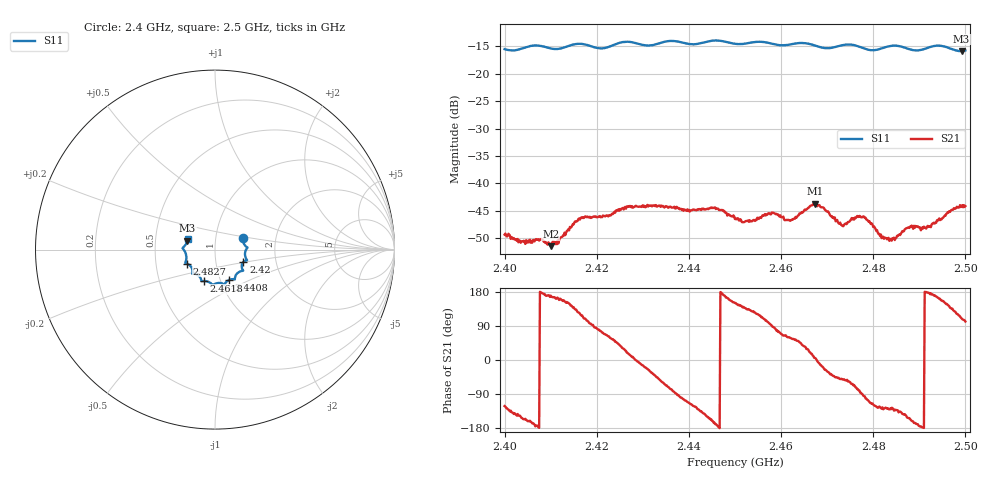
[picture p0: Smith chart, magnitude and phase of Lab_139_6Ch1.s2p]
# Hz S RI R 50
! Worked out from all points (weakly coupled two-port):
!   601 points, 2.4 GHz to 2.5 GHz, reference 50 ohm
!   highest |S21| = -43.71 dB at 2.4673 GHz (marker M1); lowest = -51.4 dB at 2.41 GHz (marker M2)
!   lowest |S11| = -15.8 dB at 2.4992 GHz (marker M3), VSWR 1.38, Z = 36.5 + j3.71 ohm
!   |S11| at or under -10 dB: start of sweep to end of sweep
!   S12 and S22 are empty: the file has one direction only
!   S11 on the Smith chart (normalised r, x): 2.4 GHz: 1.36, +0.17; 2.42 GHz: 1.36, -0.19; 2.4408 GHz: 1.10, -0.38; 2.4618 GHz: 0.84, -0.30; 2.4827 GHz: 0.72, -0.12; 2.5 GHz: 0.73, +0.09
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2.4e9  0.1562 0.0622  -0.00179 -0.00291  0 0  0 0
2.41e9  0.1704 -0.00631  -0.00264 0.00047  0 0  0 0
2.416667e9  0.1782 -0.0592  -0.00225 0.00436  0 0  0 0
2.42e9  0.158 -0.0692  0.000583 0.00488  0 0  0 0
2.427e9  0.1566 -0.118  0.00591 0.00159  0 0  0 0
2.433333e9  0.112 -0.152  0.00415 -0.00469  0 0  0 0
2.440833e9  0.079 -0.1686  -0.00292 -0.00496  0 0  0 0
2.445667e9  0.0523 -0.1947  -0.00593 -0.00116  0 0  0 0
2.45e9  0.028 -0.186  -0.00411 0.00235  0 0  0 0
2.452e9  0.00724 -0.1881  -0.00332 0.00294  0 0  0 0
2.4585e9  -0.0276 -0.1842  0.000409 0.00534  0 0  0 0
2.461833e9  -0.06 -0.175  0.00231 0.00396  0 0  0 0
2.466667e9  -0.0769 -0.1686  0.00604 0.00178  0 0  0 0
2.467333e9  -0.0786 -0.1639  0.00649 0.000628  0 0  0 0
2.473e9  -0.1211 -0.135  0.0027 -0.00321  0 0  0 0
2.478167e9  -0.1261 -0.1133  -0.000505 -0.00481  0 0  0 0
2.482667e9  -0.157 -0.0778  -0.00186 -0.00258  0 0  0 0
2.483333e9  -0.1612 -0.0763  -0.00203 -0.00246  0 0  0 0
2.488e9  -0.1595 -0.0498  -0.00369 -0.00165  0 0  0 0
2.492e9  -0.1736 -0.00166  -0.004 0.000202  0 0  0 0
2.499167e9  -0.1536 0.0495  -0.00211 0.00581  0 0  0 0
2.5e9  -0.1518 0.0616  -0.00125 0.00609  0 0  0 0
